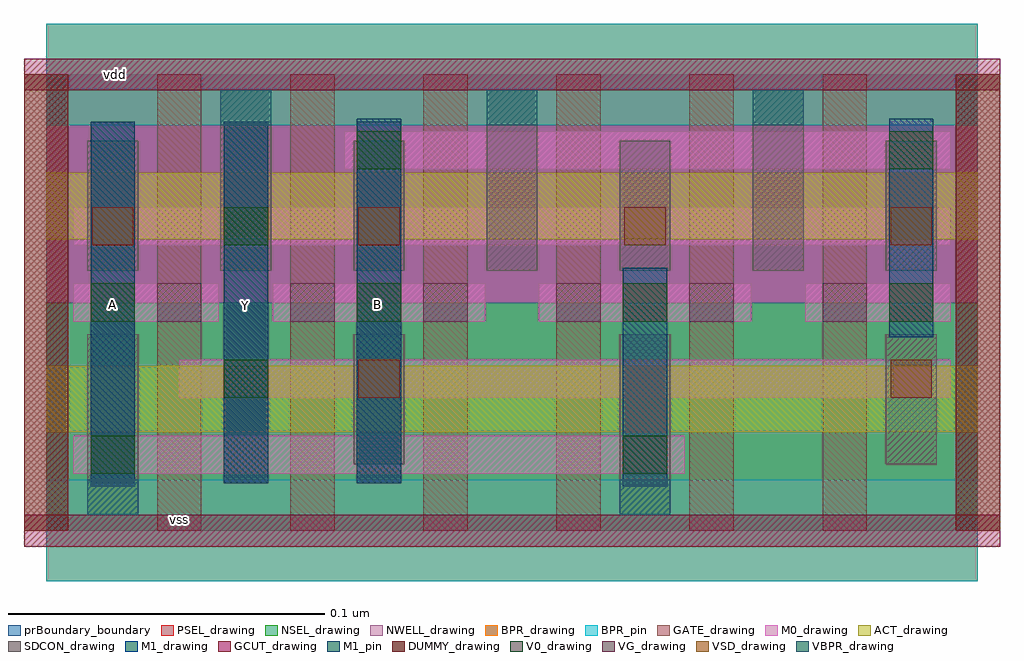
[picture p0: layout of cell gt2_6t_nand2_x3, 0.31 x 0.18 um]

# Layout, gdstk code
import gdstk
lib = gdstk.Library(unit=1e-6, precision=5e-10)
def R(c, l, rs):  # rectangles x0, y0, x1, y1
    for r in rs: c.add(gdstk.rectangle(r[:2], r[2:], *l))
def A(c, l, x, y, w, h, nx, ny, dx, dy):  # array of equal rectangles
    R(c, l, [(x+i*dx, y+j*dy, x+i*dx+w, y+j*dy+h) for i in range(nx) for j in range(ny)])
NWELL_drawing = (1, 0)
ACT_drawing = (2, 0)
GATE_drawing = (3, 0)
DUMMY_drawing = (4, 0)
GCUT_drawing = (5, 0)
NSEL_drawing = (6, 0)
PSEL_drawing = (7, 0)
BPR_drawing = (8, 0)
BPR_pin = (8, 251)
VBPR_drawing = (9, 0)
SDCON_drawing = (10, 0)
VSD_drawing = (11, 0)
VG_drawing = (12, 0)
M0_drawing = (20, 0)
V0_drawing = (22, 0)
M1_drawing = (25, 0)
M1_pin = (25, 251)
prBoundary_boundary = (235, 250)

gt2_6t_nand2_x3 = lib.new_cell('gt2_6t_nand2_x3')
R(gt2_6t_nand2_x3, NWELL_drawing, [(0,0.072,0.294,0.144)])
R(gt2_6t_nand2_x3, ACT_drawing, [(0,0.031,0.294,0.052), (0,0.092,0.294,0.113)])
A(gt2_6t_nand2_x3, GATE_drawing, -0.007, 0, 0.014, 0.144, 8, 1, 0.042, 0)
R(gt2_6t_nand2_x3, DUMMY_drawing, [(-0.007,0,0.007,0.144), (0.287,0,0.301,0.144)])
R(gt2_6t_nand2_x3, GCUT_drawing, [(-0.007,-0.005,0.301,0.005), (-0.007,0.139,0.301,0.149)])
R(gt2_6t_nand2_x3, NSEL_drawing, [(0,0,0.294,0.072)])
R(gt2_6t_nand2_x3, PSEL_drawing, [(0,0.072,0.294,0.144)])
R(gt2_6t_nand2_x3, BPR_drawing, [(0,-0.016,0.294,0.016), (0,0.128,0.294,0.16)])
R(gt2_6t_nand2_x3, BPR_pin, [(0,-0.016,0.294,0.016), (0,0.128,0.294,0.16)])
A(gt2_6t_nand2_x3, VBPR_drawing, 0.055, 0.128, 0.016, 0.011, 3, 1, 0.084, 0)
R(gt2_6t_nand2_x3, VBPR_drawing, [(0.013,0.005,0.029,0.016), (0.181,0.005,0.197,0.016)])
A(gt2_6t_nand2_x3, SDCON_drawing, 0.013, 0.082, 0.016, 0.041, 4, 1, 0.084, 0)
A(gt2_6t_nand2_x3, SDCON_drawing, 0.055, 0.082, 0.016, 0.057, 3, 1, 0.084, 0)
R(gt2_6t_nand2_x3, SDCON_drawing, [(0.013,0.005,0.029,0.062), (0.181,0.005,0.197,0.062), (0.097,0.021,0.113,0.062), (0.265,0.021,0.281,0.062)])
A(gt2_6t_nand2_x3, VSD_drawing, 0.0145, 0.09, 0.013, 0.012, 4, 1, 0.084, 0)
R(gt2_6t_nand2_x3, VSD_drawing, [(0.0985,0.042,0.1115,0.054), (0.2665,0.042,0.2795,0.054)])
A(gt2_6t_nand2_x3, VG_drawing, 0.035, 0.066, 0.014, 0.012, 6, 1, 0.042, 0)
R(gt2_6t_nand2_x3, M0_drawing, [(0.0085,0.018,0.2015,0.03), (0.042,0.042,0.2855,0.054), (0.0085,0.066,0.0545,0.078), (0.0715,0.066,0.1385,0.078), (0.1555,0.066,0.2225,0.078), (0.2395,0.066,0.2855,0.078), (0.0085,0.09,0.2855,0.102), (0.094,0.114,0.2855,0.126)])
A(gt2_6t_nand2_x3, V0_drawing, 0.014, 0.066, 0.014, 0.012, 4, 1, 0.084, 0)
R(gt2_6t_nand2_x3, V0_drawing, [(0.014,0.018,0.028,0.03), (0.182,0.018,0.196,0.03), (0.056,0.042,0.07,0.054), (0.056,0.09,0.07,0.102), (0.098,0.114,0.112,0.126), (0.266,0.114,0.28,0.126)])
R(gt2_6t_nand2_x3, M1_drawing, [(0.014,0.014,0.028,0.129), (0.182,0.014,0.196,0.083), (0.056,0.015,0.07,0.129), (0.098,0.015,0.112,0.13), (0.266,0.061,0.28,0.13)])
A(gt2_6t_nand2_x3, M1_pin, 0.014, 0.015, 0.014, 0.114, 3, 1, 0.042, 0)
R(gt2_6t_nand2_x3, prBoundary_boundary, [(0,0,0.294,0.144)])
gt2_6t_nand2_x3.add(gdstk.Label('vss', (0.042,0.0035), layer=8, texttype=251))
gt2_6t_nand2_x3.add(gdstk.Label('vdd', (0.022,0.144), layer=8, texttype=251))
gt2_6t_nand2_x3.add(gdstk.Label('B', (0.1045,0.0715), layer=25, texttype=251))
gt2_6t_nand2_x3.add(gdstk.Label('Y', (0.063,0.071), layer=25, texttype=251))
gt2_6t_nand2_x3.add(gdstk.Label('A', (0.021,0.0715), layer=25, texttype=251))

lib.write_gds('gt2_6t_nand2_x3.gds')
